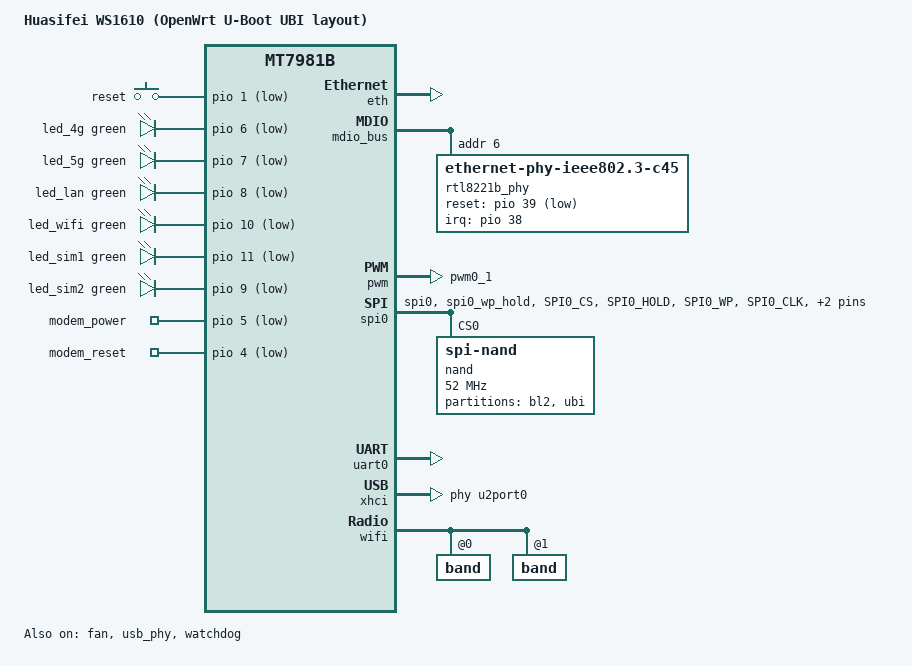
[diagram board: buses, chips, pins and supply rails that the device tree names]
// SPDX-License-Identifier: GPL-2.0-or-later OR MIT

/dts-v1/;

#include "mt7981b.dtsi"

/ {
	model = "Huasifei WS1610 (OpenWrt U-Boot UBI layout)";
	compatible = "huasifei,ws1610-ubi", "mediatek,mt7981b";

	aliases {
		led-boot = &led_sim1;
		led-failsafe = &led_sim2;
		led-running = &led_sim1;
		led-upgrade = &led_sim1;
		label-mac-device = &gmac0;
		serial0 = &uart0;
	};

	chosen {
		bootargs = "root=/dev/fit0 rootwait";
		rootdisk = <&ubi_rootdisk>;
		stdout-path = "serial0:115200n8";
	};

	keys {
		compatible = "gpio-keys";

		button-reset {
			label = "reset";
			linux,code = <KEY_RESTART>;
			gpios = <&pio 1 GPIO_ACTIVE_LOW>;
		};
	};

	leds {
		compatible = "gpio-leds";

		led_4g: led-4g {
			function = LED_FUNCTION_MOBILE;
			color = <LED_COLOR_ID_GREEN>;
			function-enumerator = <1>;
			gpios = <&pio 6 GPIO_ACTIVE_LOW>;
		};

		led_5g: led-5g {
			function = LED_FUNCTION_MOBILE;
			color = <LED_COLOR_ID_GREEN>;
			function-enumerator = <2>;
			gpios = <&pio 7 GPIO_ACTIVE_LOW>;
		};

		led_lan: led-lan {
			function = LED_FUNCTION_LAN;
			color = <LED_COLOR_ID_GREEN>;
			gpios = <&pio 8 GPIO_ACTIVE_LOW>;
		};

		led_wifi: led-wifi {
			function = LED_FUNCTION_WLAN;
			color = <LED_COLOR_ID_GREEN>;
			gpios = <&pio 10 GPIO_ACTIVE_LOW>;
			linux,default-trigger = "network";
		};

		led_sim1: led-sim1 {
			function = LED_FUNCTION_MOBILE;
			color = <LED_COLOR_ID_GREEN>;
			function-enumerator = <3>;
			gpios = <&pio 11 GPIO_ACTIVE_LOW>;
		};

		led_sim2: led-sim2 {
			function = LED_FUNCTION_MOBILE;
			color = <LED_COLOR_ID_GREEN>;
			function-enumerator = <4>;
			gpios = <&pio 9 GPIO_ACTIVE_LOW>;
		};
	};

	/*
	 * GPIO5 controls the modem 5 V rail.
	 * Exported value 0 = modem powered, 1 = modem powered off.
	 *
	 * GPIO4 is a separate modem control line;
	 * Exported value 1 = normal state; pulsing it to 0 resets the module.
	 */

	gpio-export {
		compatible = "gpio-export";

		modem-power {
			gpio-export,name = "modem_power";
			gpio-export,output = <0>;
			gpios = <&pio 5 GPIO_ACTIVE_LOW>;
		};

		modem-reset {
			gpio-export,name = "modem_reset";
			gpio-export,output = <1>;
			gpios = <&pio 4 GPIO_ACTIVE_LOW>;
		};
	};
};

&eth {
	pinctrl-names = "default";
	pinctrl-0 = <&mdio_pins>;
	status = "okay";

	/* Port labeled 2.5G LAN/WAN */
	gmac0: mac@0 {
		label = "wan";
		compatible = "mediatek,eth-mac";
		reg = <0>;
		phy-mode = "2500base-x";
		phy-handle = <&rtl8221b_phy>;
		nvmem-cell-names = "mac-address";
		nvmem-cells = <&macaddr_factory_4 0>;
	};

	/* Port labeled LAN */
	gmac1: mac@1 {
		label = "lan";
		compatible = "mediatek,eth-mac";
		reg = <1>;
		phy-mode = "gmii";
		phy-handle = <&int_gbe_phy>;
		nvmem-cell-names = "mac-address";
		nvmem-cells = <&macaddr_factory_4 1>;
	};
};

&fan {
	interrupt-parent = <&pio>;
	interrupts = <12 IRQ_TYPE_EDGE_FALLING>;
	pulses-per-revolution = <2>;
	pwms = <&pwm 0 40000>;
	status = "okay";
};

&mdio_bus {
	rtl8221b_phy: ethernet-phy@6 {
		compatible = "ethernet-phy-ieee802.3-c45";
		reg = <6>;
		reset-assert-us = <100000>;
		reset-deassert-us = <100000>;
		reset-gpios = <&pio 39 GPIO_ACTIVE_LOW>;
		interrupt-parent = <&pio>;
		interrupts = <38 IRQ_TYPE_LEVEL_LOW>;
		realtek,aldps-enable;
	};
};

&pio {
	pwm0_pins: pwm0-pins {
		mux {
			function = "pwm";
			groups = "pwm0_1";
		};
	};

	spi0_flash_pins: spi0-pins {
		mux {
			function = "spi";
			groups = "spi0", "spi0_wp_hold";
		};

		conf-pu {
			pins = "SPI0_CS", "SPI0_HOLD", "SPI0_WP";
			drive-strength = <MTK_DRIVE_8mA>;
			bias-pull-up = <MTK_PUPD_SET_R1R0_11>;
		};

		conf-pd {
			pins = "SPI0_CLK", "SPI0_MOSI", "SPI0_MISO";
			drive-strength = <MTK_DRIVE_8mA>;
			bias-pull-down = <MTK_PUPD_SET_R1R0_11>;
		};
	};
};

&pwm {
	pinctrl-names = "default";
	pinctrl-0 = <&pwm0_pins>;
	status = "okay";
};

&spi0 {
	pinctrl-names = "default";
	pinctrl-0 = <&spi0_flash_pins>;
	status = "okay";

	nand@0 {
		compatible = "spi-nand";
		reg = <0>;

		spi-max-frequency = <52000000>;
		spi-rx-bus-width = <4>;
		spi-tx-bus-width = <4>;

		spi-cal-enable;
		spi-cal-mode = "read-data";
		spi-cal-datalen = <7>;
		spi-cal-data = /bits/ 8 <0x53 0x50 0x49 0x4e 0x41 0x4e 0x44>;
		spi-cal-addrlen = <5>;
		spi-cal-addr = /bits/ 32 <0x0 0x0 0x0 0x0 0x0>;

		partitions {
			compatible = "fixed-partitions";
			#address-cells = <1>;
			#size-cells = <1>;

			partition@0 {
				label = "bl2";
				reg = <0x0000000 0x0100000>;
				read-only;
			};

			partition@100000 {
				compatible = "linux,ubi";
				label = "ubi";
				reg = <0x0100000 0x0ff00000>;

				volumes {
					ubi_factory: ubi-volume-factory {
						volname = "factory";
					};

					ubi-volume-fip {
						volname = "fip";
					};

					ubi_rootdisk: ubi-volume-fit {
						volname = "fit";
					};

					ubi_ubootenv: ubi-volume-ubootenv {
						volname = "ubootenv";
					};

					ubi_ubootenv2: ubi-volume-ubootenv2 {
						volname = "ubootenv2";
					};
				};
			};
		};
	};
};

&ubi_factory {
	nvmem-layout {
		compatible = "fixed-layout";
		#address-cells = <1>;
		#size-cells = <1>;

		eeprom_factory_0: eeprom@0 {
			reg = <0x0 0x1000>;
		};

		macaddr_factory_4: macaddr@4 {
			compatible = "mac-base";
			reg = <0x4 0x6>;
			#nvmem-cell-cells = <1>;
		};
	};
};

&ubi_ubootenv {
	nvmem-layout {
		compatible = "u-boot,env-redundant-bool";
	};
};

&ubi_ubootenv2 {
	nvmem-layout {
		compatible = "u-boot,env-redundant-bool";
	};
};

&uart0 {
	status = "okay";
};

&xhci {
	phys = <&u2port0 PHY_TYPE_USB2>,
	       <&u3port0 PHY_TYPE_USB3>;
	mediatek,u3p-dis-msk = <0x0>;
	status = "okay";
};

&usb_phy {
	status = "okay";
};

&watchdog {
	status = "okay";
};

&wifi {
	#address-cells = <1>;
	#size-cells = <0>;
	nvmem-cells = <&eeprom_factory_0>;
	nvmem-cell-names = "eeprom";
	status = "okay";

	band@0 {
		reg = <0>;
		nvmem-cells = <&macaddr_factory_4 2>;
		nvmem-cell-names = "mac-address";
	};

	band@1 {
		reg = <1>;
		nvmem-cells = <&macaddr_factory_4 3>;
		nvmem-cell-names = "mac-address";
	};
};
